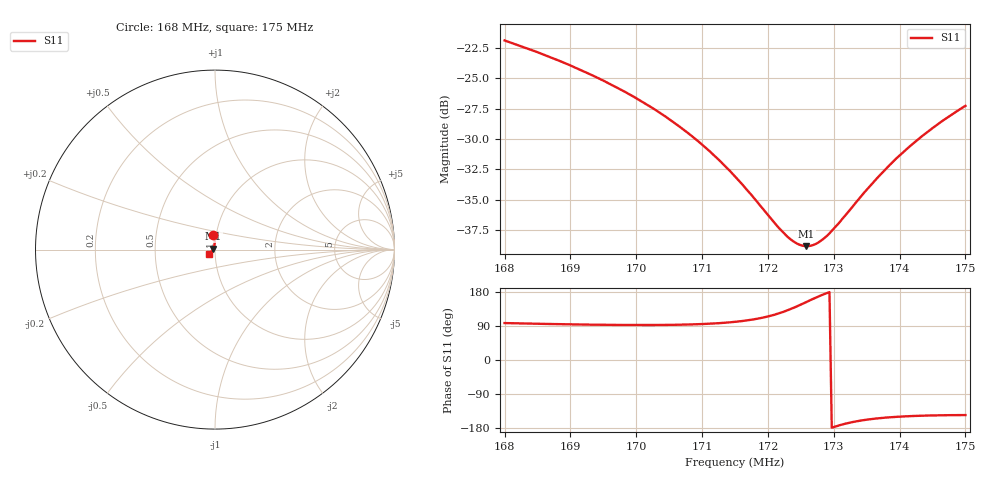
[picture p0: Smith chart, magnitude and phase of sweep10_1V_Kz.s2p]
!Agilent Technologies,E8364B,US42250162,A.07.50.67
!Agilent E8364B: A.07.50.67
!Date: Friday, June 23, 2023 16:29:20
!Correction: S11(Off)
!S21(Off)
!S12(Off)
!S22(Off)
!S2P File: Measurements: S11, S21, S12, S22:
# Hz S  RI  R 50
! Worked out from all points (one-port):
!   201 points, 168 MHz to 175 MHz, reference 50 ohm
!   lowest |S11| = -38.8 dB at 172.59 MHz (marker M1), VSWR 1.02, Z = 49 + j0.51 ohm
!   |S11| at or under -10 dB: start of sweep to end of sweep
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1.68e8  -0.0105 0.0798  7.07e-11 7.07e-11  7.07e-11 7.07e-11  7.07e-11 7.07e-11
1.6863e8  -0.0063 0.0695  7.07e-11 7.07e-11  7.07e-11 7.07e-11  7.07e-11 7.07e-11
1.6919e8  -0.00372 0.0601  7.07e-11 7.07e-11  7.07e-11 7.07e-11  7.07e-11 7.07e-11
1.69785e8  -0.00213 0.0502  7.07e-11 7.07e-11  7.07e-11 7.07e-11  7.07e-11 7.07e-11
1.70345e8  -0.00171 0.0407  7.07e-11 7.07e-11  7.07e-11 7.07e-11  7.07e-11 7.07e-11
1.70625e8  -0.00189 0.0361  7.07e-11 7.07e-11  7.07e-11 7.07e-11  7.07e-11 7.07e-11
1.7094e8  -0.0024 0.0309  7.07e-11 7.07e-11  7.07e-11 7.07e-11  7.07e-11 7.07e-11
1.71255e8  -0.00324 0.0258  7.07e-11 7.07e-11  7.07e-11 7.07e-11  7.07e-11 7.07e-11
1.715e8  -0.00412 0.0218  7.07e-11 7.07e-11  7.07e-11 7.07e-11  7.07e-11 7.07e-11
1.71745e8  -0.00517 0.0179  7.07e-11 7.07e-11  7.07e-11 7.07e-11  7.07e-11 7.07e-11
1.7213e8  -0.00722 0.012  7.07e-11 7.07e-11  7.07e-11 7.07e-11  7.07e-11 7.07e-11
1.72305e8  -0.00831 0.00931  7.07e-11 7.07e-11  7.07e-11 7.07e-11  7.07e-11 7.07e-11
1.72445e8  -0.00923 0.00725  7.07e-11 7.07e-11  7.07e-11 7.07e-11  7.07e-11 7.07e-11
1.72585e8  -0.0102 0.0052  7.07e-11 7.07e-11  7.07e-11 7.07e-11  7.07e-11 7.07e-11
1.7269e8  -0.011 0.00367  7.07e-11 7.07e-11  7.07e-11 7.07e-11  7.07e-11 7.07e-11
1.72795e8  -0.0118 0.00214  7.07e-11 7.07e-11  7.07e-11 7.07e-11  7.07e-11 7.07e-11
1.72935e8  -0.0129 0.000181  7.07e-11 7.07e-11  7.07e-11 7.07e-11  7.07e-11 7.07e-11
1.7346e8  -0.0177 -0.00698  7.07e-11 7.07e-11  7.07e-11 7.07e-11  7.07e-11 7.07e-11
1.73845e8  -0.0216 -0.0119  7.07e-11 7.07e-11  7.07e-11 7.07e-11  7.07e-11 7.07e-11
1.74125e8  -0.0247 -0.0152  7.07e-11 7.07e-11  7.07e-11 7.07e-11  7.07e-11 7.07e-11
1.7444e8  -0.0285 -0.0188  7.07e-11 7.07e-11  7.07e-11 7.07e-11  7.07e-11 7.07e-11
1.75e8  -0.0356 -0.0246  7.07e-11 7.07e-11  7.07e-11 7.07e-11  7.07e-11 7.07e-11
